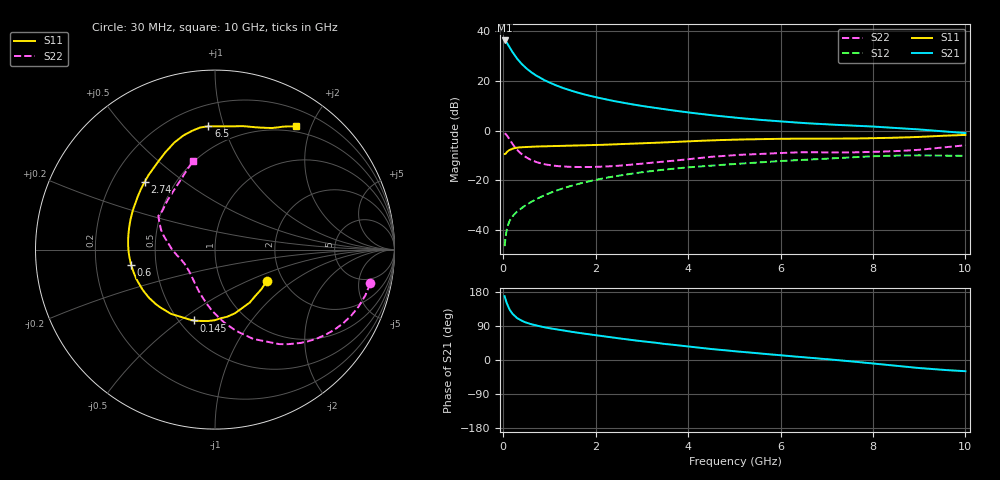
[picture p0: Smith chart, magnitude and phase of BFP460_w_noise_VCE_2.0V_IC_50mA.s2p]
! (c) 2016  Infineon Technologies AG, Munich
! Infineon Technologies  Discrete & RF Semiconductors
! BFP460
! VCE =  2.0 V,  IC =  50 mA
! Common Emitter S-Parameters:  Jan 2016
# GHz  S  MA  R  50
!  f  S11  S21  S12  S22
! GHz  MAG  ANG  MAG  ANG  MAG  ANG  MAG  ANG
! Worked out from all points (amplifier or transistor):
!   229 points, 30 MHz to 10 GHz, reference 50 ohm
!   highest |S21| = 36.3 dB at 30 MHz (marker M1)
!   |S21| within 3 dB of that: start of sweep to 145.8 MHz
!   unconditionally stable (mu >= 1): 1.081 GHz to 7.648 GHz
!   at 280 MHz: K = 0.65, MSG = 31.3 dB, |S12| = -33.0 dB
!   at 1.78 GHz: K = 1.03, MAG = 16.5 dB, |S12| = -20.7 dB
!   at 10 GHz: K = 0.97, MSG = 4.6 dB, |S12| = -10.2 dB
!   lowest NFmin = 1.78 dB at 3.5 GHz
!   S11 on the Smith chart (normalised r, x): 30 MHz: 1.65, -0.65; 145 MHz: 0.59, -0.56; 600 MHz: 0.36, -0.08; 2.74 GHz: 0.34, +0.36; 6.5 GHz: 0.34, +0.89; 10 GHz: 0.42, +1.77
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0.03  0.337 -31.1  65.69 168.4  0.0047 84.5  0.8851 -12.3
0.05  0.3423 -49.1  63.17 159.6  0.0069 77.1  0.8611 -21.5
0.07  0.3598 -65.6  60.37 152.3  0.0093 73.2  0.8235 -29.9
0.085  0.3752 -76.2  57.62 147.5  0.0109 70.4  0.7888 -35.7
0.11  0.3936 -90.3  52.97 140.2  0.0131 66.7  0.7291 -44.4
0.145  0.4121 -106.8  46.65 131.7  0.0156 63.2  0.6473 -54.5
0.2  0.434 -124.4  38.43 121.9  0.0187 60.2  0.5409 -66.9
0.26  0.4482 -137.2  31.8 114.6  0.0215 59.2  0.4558 -76.8
0.3  0.4552 -143.7  28.29 110.6  0.0233 59.3  0.4116 -82.5
0.4  0.4638 -155.3  22.08 103.5  0.0276 60.5  0.3357 -93.5
0.5  0.4703 -163.3  18.02 98.6  0.032 61.9  0.2883 -102.0
0.6  0.4751 -169.4  15.19 94.6  0.0364 62.9  0.2572 -109.0
0.8  0.4817 -178.4  11.54 88.6  0.0456 64.2  0.2207 -120.1
1  0.4865 174.7  9.307 83.9  0.055 64.5  0.2021 -128.5
1.7  0.5045 156.7  5.543 70.5  0.088 61.7  0.1847 -147.2
2.74  0.5441 136.1  3.453 53.5  0.1345 53.0  0.2052 -167.9
3.4  0.5749 125.3  2.772 43.9  0.1606 46.9  0.234 -178.6
5.1  0.6622 104.6  1.799 22.2  0.2157 33.1  0.3249 158.6
6.5  0.6881 93.1  1.424 7.2  0.2575 22.3  0.3674 149.2
6.8  0.6867 90.3  1.372 4.3  0.2666 20.2  0.3658 148.0
8.4  0.7177 71.8  1.149 -14.1  0.313 5.5  0.3839 132.4
10  0.82 56.8  0.893 -29.6  0.3108 -7.3  0.5074 104.1
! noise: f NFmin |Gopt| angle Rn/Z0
0.45  1.86  0.32  -170  0.13
0.9  1.89  0.29  -162  0.14
1.9  1.98  0.4  -140  0.16
3.5  1.78  0.62  -116  0.27
